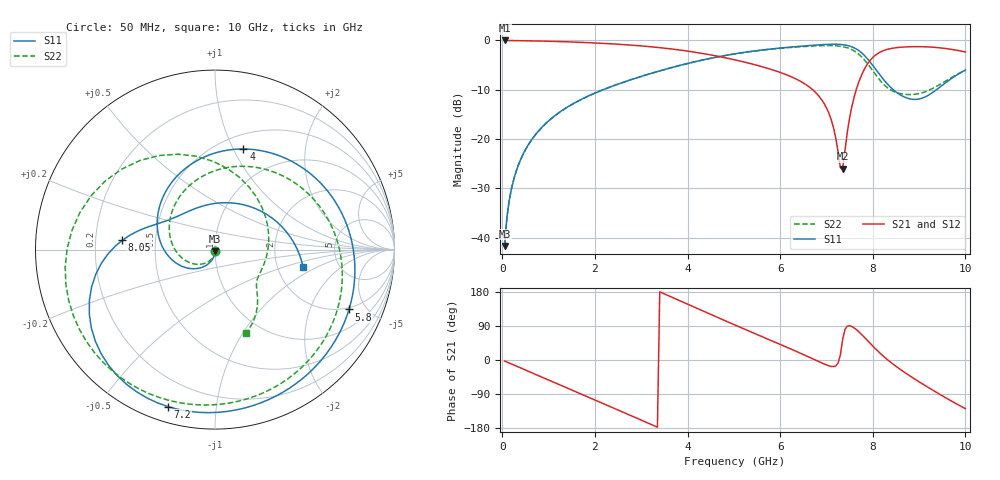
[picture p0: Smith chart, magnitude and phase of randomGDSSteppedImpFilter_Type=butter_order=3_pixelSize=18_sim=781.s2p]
! freq	dB(S11)	phase(S11)	dB(S12)	phase(S12)
!  dB(S21)	phase(S21)	dB(S22)	phase(S22)
!S-par simulation data
#  GHz  S  DB  R 50
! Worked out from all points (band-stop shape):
!   200 points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, 50 MHz to 10 GHz, reference 50 ohm
!   highest |S21| = -0.02 dB at 50 MHz (marker M1); lowest = -26.0 dB at 7.35 GHz (marker M2)
!   |S21| within 3 dB of the highest: start of sweep to 4.542 GHz; 8.055 GHz to end of sweep
!   lowest |S11| = -41.7 dB at 50 MHz (marker M3), VSWR 1.02, Z = 50.1 - j0.816 ohm
!   |S11| at or under -10 dB: start of sweep to 2.177 GHz; 8.442 GHz to 9.376 GHz (934.1 MHz wide, 10.5 % of centre)
!   |S22| runs from -41.7 to -1.1 dB; largest |S21 - S12| = 0
!   S11 on the Smith chart (normalised r, x): 50 MHz: 1.00, -0.02; 4 GHz: 0.65, +1.10; 5.8 GHz: 1.89, -3.80; 7.2 GHz: 0.07, -0.74; 8.05 GHz: 0.32, +0.05; 10 GHz: 2.79, -0.73
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0.05  -41.69 -81.6  -0.02 -2.7  -0.02 -2.7  -41.71 -82.7
0.2  -29.97 -96.3  -0.03 -10.6  -0.03 -10.6  -30.02 -99.1
0.5  -22.14 -112.2  -0.08 -26.3  -0.08 -26.3  -22.19 -119.4
1.15  -15.15 -143.0  -0.22 -60.5  -0.22 -60.5  -15.19 -159.2
1.75  -11.76 -170.8  -0.42 -92.0  -0.42 -92.0  -11.77 165.1
2.65  -8.37 145.7  -0.88 -139.7  -0.88 -139.7  -8.37 112.8
3.4  -6.19 106.8  -1.48 179.9  -1.48 179.9  -6.18 70.9
4  -4.69 74.2  -2.17 147.3  -2.17 147.3  -4.68 38.7
5.05  -2.68 16.2  -4.00 90.9  -4.00 90.9  -2.69 -15.3
5.8  -1.75 -24.0  -5.87 51.7  -5.87 51.7  -1.79 -53.1
6.7  -1.00 -73.3  -9.99 3.4  -9.99 3.4  -1.15 -103.9
7  -0.83 -92.2  -13.69 -13.0  -13.69 -13.0  -1.06 -126.1
7.2  -0.79 -106.6  -19.73 -15.7  -19.73 -15.7  -1.10 -144.3
7.35  -0.87 -118.8  -26.03 54.5  -26.03 54.5  -1.28 -160.8
7.6  -1.52 -142.5  -11.41 84.5  -11.41 84.5  -2.15 164.7
7.85  -3.36 -168.2  -5.32 55.9  -5.32 55.9  -4.30 120.7
8.05  -5.69 174.3  -3.05 30.6  -3.05 30.6  -6.80 81.3
8.35  -9.18 155.3  -1.74 -2.5  -1.74 -2.5  -9.82 24.9
8.7  -11.55 129.5  -1.33 -33.8  -1.33 -33.8  -10.94 -18.5
9.15  -11.38 75.7  -1.31 -68.9  -1.31 -68.9  -10.36 -40.5
9.55  -8.76 28.4  -1.62 -98.0  -1.62 -98.0  -8.37 -51.6
10  -6.01 -11.3  -2.34 -128.4  -2.34 -128.4  -6.09 -69.6
